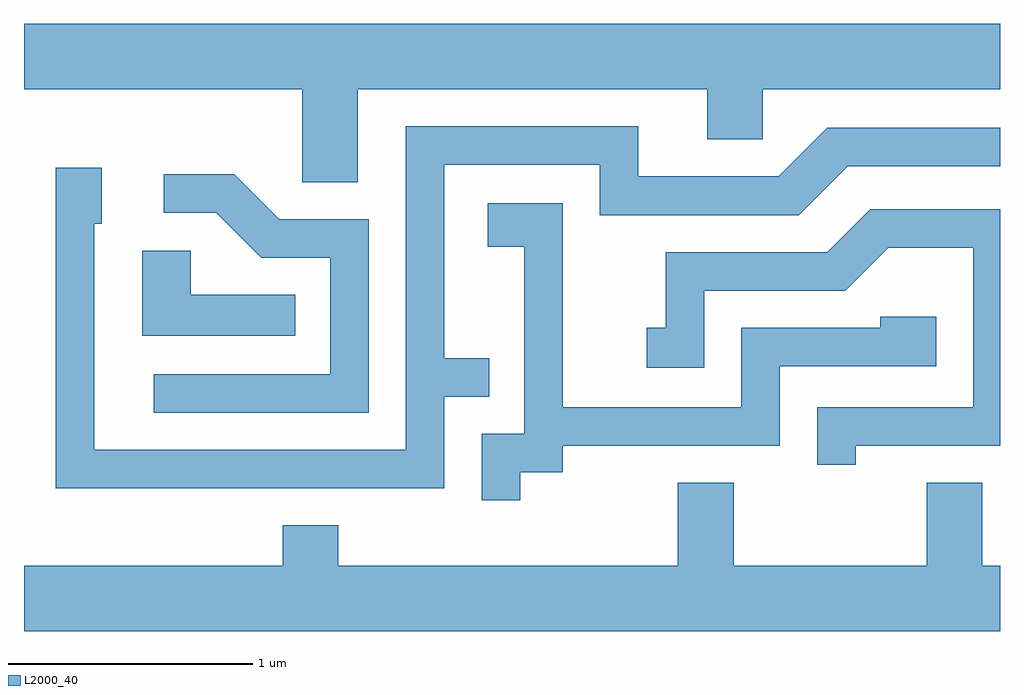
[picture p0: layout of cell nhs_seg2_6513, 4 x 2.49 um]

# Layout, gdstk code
import gdstk
lib = gdstk.Library(unit=1e-6, precision=1e-09)
def P(c, l, *ps):  # polygons
    for p in ps: c.add(gdstk.Polygon(p, *l))
L2000_40 = (2000, 40)

nhs_seg2_6513 = lib.new_cell('nhs_seg2_6513')
P(nhs_seg2_6513, L2000_40, [(378.979,1019.456),(380.411,1019.456),(380.411,1019.251),(380.639,1019.251),(380.639,1019.456),(381.611,1019.456),(381.611,1019.724),(377.611,1019.724),(377.611,1019.456),(378.751,1019.456),(378.751,1019.076),(378.979,1019.076)],
  [(379.334,1018.196),(379.518,1018.196),(379.518,1018.354),(379.334,1018.354),(379.334,1019.146),(379.971,1019.146),(379.971,1018.941),(380.787,1018.941),(380.987,1019.141),(381.611,1019.141),(381.611,1019.299),(380.904,1019.299),(380.704,1019.099),(380.129,1019.099),(380.129,1019.304),(379.176,1019.304),(379.176,1017.979),(377.899,1017.979),(377.899,1018.906),(377.929,1018.906),(377.929,1019.134),(377.741,1019.134),(377.741,1017.821),(379.334,1017.821)],
  [(379.024,1018.924),(378.657,1018.924),(378.472,1019.109),(378.183,1019.109),(378.183,1018.951),(378.399,1018.951),(378.584,1018.766),(378.866,1018.766),(378.866,1018.289),(378.143,1018.289),(378.143,1018.131),(379.024,1018.131)],
  [(379.644,1017.886),(379.819,1017.886),(379.819,1017.996),(380.709,1017.996),(380.709,1018.321),(381.349,1018.321),(381.349,1018.524),(381.121,1018.524),(381.121,1018.479),(380.551,1018.479),(380.551,1018.154),(379.819,1018.154),(379.819,1018.989),(379.511,1018.989),(379.511,1018.811),(379.661,1018.811),(379.661,1018.044),(379.486,1018.044),(379.486,1017.773),(379.644,1017.773)],
  [(381.019,1017.996),(381.611,1017.996),(381.611,1018.964),(381.079,1018.964),(380.904,1018.789),(380.241,1018.789),(380.241,1018.479),(380.163,1018.479),(380.163,1018.316),(380.399,1018.316),(380.399,1018.631),(380.977,1018.631),(381.152,1018.806),(381.501,1018.806),(381.501,1018.154),(380.861,1018.154),(380.861,1017.918),(381.019,1017.918)],
  [(378.723,1018.614),(378.294,1018.614),(378.294,1018.794),(378.096,1018.794),(378.096,1018.446),(378.723,1018.446)],
  [(378.671,1017.669),(378.671,1017.504),(377.611,1017.504),(377.611,1017.236),(381.611,1017.236),(381.611,1017.504),(381.539,1017.504),(381.539,1017.844),(381.311,1017.844),(381.311,1017.504),(380.519,1017.504),(380.519,1017.844),(380.291,1017.844),(380.291,1017.504),(378.899,1017.504),(378.899,1017.669)])

lib.write_gds('nhs_seg2_6513.gds')
